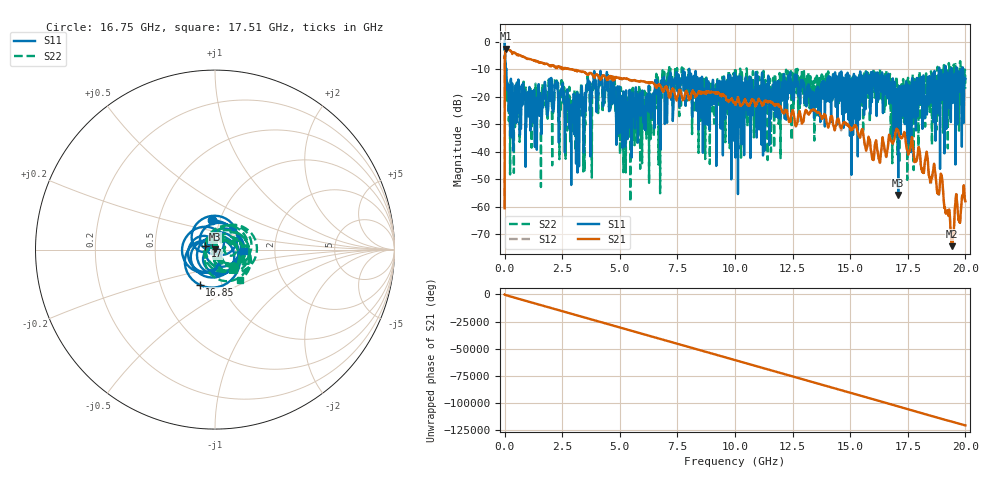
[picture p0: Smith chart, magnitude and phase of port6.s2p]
! MS46122B
! 2250307/22442219
! 2/19/2026 8:59:35 AM
! C:\USERS\SPARKY\DOCUMENTS\VNA_DATA\FEB19_2026\WARM2\PORT6.S2P
! CHANNEL.1
! TR.MEASUREMENT
! RAW.DATA
# GHZ S RI R 50.0
! FREQ.GHZ  S11RE  S11IM  S21RE  S21IM  S12RE  S12IM  S22RE  S22IM
!; PortSelection: Port_12
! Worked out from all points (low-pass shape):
!   10001 points, 1 MHz to 20 GHz, reference 50 ohm
!   highest |S21| = -2.53 dB at 45 MHz (marker M1); lowest = -74.3 dB at 19.42 GHz (marker M2)
!   |S21| within 3 dB of the highest: 19.01 MHz to 785.5 MHz (766.5 MHz wide, 191 % of centre); 797 MHz to 828.7 MHz (31.78 MHz wide, 3.91 % of centre) (the widest 2 of 3)
!   lowest |S11| = -55.6 dB at 17.08 GHz (marker M3), VSWR 1.00, Z = 49.9 + j0.147 ohm
!   |S11| at or under -10 dB: 75.07 MHz to 8.009 GHz (7.934 GHz wide, 196 % of centre); 8.019 GHz to 18.85 GHz (10.83 GHz wide, 80.6 % of centre); 19.15 GHz to 19.4 GHz (252.5 MHz wide, 1.31 % of centre) (the widest 3 of 8)
!   |S22| runs from -58.1 to -0.2 dB; largest |S21 - S12| = 0.062
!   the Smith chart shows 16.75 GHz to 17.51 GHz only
!   S11 on the Smith chart (normalised r, x): 16.75 GHz: 0.91, +0.31; 16.85 GHz: 0.78, -0.32; 17 GHz: 0.90, +0.03; 17.51 GHz: 1.39, -0.02
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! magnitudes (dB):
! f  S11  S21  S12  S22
! 1 MHz  0.4  -60.5  -60.6  -0.2
! 45 MHz  -8.4  -2.5  -2.9  -9.8
! 125 MHz  -16.4  -2.7  -2.7  -21.1
! 1.329 GHz  -23.8  -6.9  -6.8  -17.6
! 2.233 GHz  -14.4  -9.5  -9.5  -15.2
! 2.891 GHz  -42.6  -10.1  -10.1  -22.4
! 3.335 GHz  -18.1  -10.9  -11.0  -16.3
! 4.147 GHz  -11.9  -13.5  -13.7  -13.0
! 5.183 GHz  -19.4  -13.4  -13.4  -34.3
! 6.669 GHz  -18.0  -15.7  -15.8  -20.4
! 7.163 GHz  -14.6  -19.1  -19.0  -13.9
! 10 GHz  -12.6  -22.8  -22.9  -10.5
! 13.33 GHz  -18.2  -25.0  -24.9  -15.2
! 16.67 GHz  -12.6  -35.0  -35.1  -13.2
! 16.75 GHz  -15.7  -35.4  -35.7  -16.8
! 16.85 GHz  -13.4  -37.0  -37.0  -14.9
! 17 GHz  -24.9  -32.0  -32.2  -13.3
! 17.08 GHz  -55.6  -32.3  -32.6  -15.9
! 17.51 GHz  -15.7  -40.7  -40.6  -13.3
! 18.96 GHz  -13.7  -48.8  -48.7  -16.4
! 19.42 GHz  -10.6  -74.3  -73.9  -14.8
! 20 GHz  -13.5  -58.0  -58.5  -17.0
